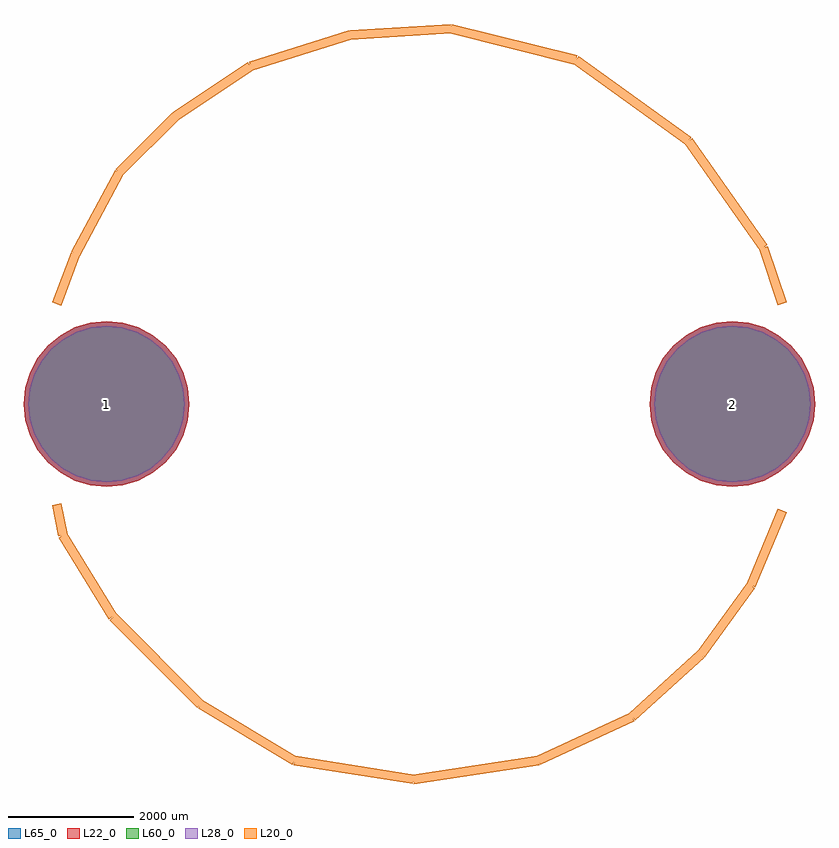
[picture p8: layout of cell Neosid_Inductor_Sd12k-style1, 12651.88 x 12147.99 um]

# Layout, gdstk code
import gdstk
lib = gdstk.Library(unit=1e-6, precision=1e-09)
def P(c, l, *ps):  # polygons
    for p in ps: c.add(gdstk.Polygon(p, *l))
L20_0 = (20, 0)
L22_0 = (22, 0)
L28_0 = (28, 0)
L60_0 = (60, 0)
L65_0 = (65, 0)

neosid_inductor_sd12k_st = lib.new_cell('Neosid_Inductor_Sd12k-style1')
P(neosid_inductor_sd12k_st, L22_0, [(-3676.58,0),(-3702.033,258.432),(-3777.415,506.933),(-3899.829,735.953),(-4064.57,936.69),(-4265.307,1101.431),(-4494.327,1223.845),(-4742.828,1299.227),(-5001.26,1324.68),(-5259.692,1299.227),(-5508.193,1223.845),(-5737.213,1101.431),(-5937.95,936.69),(-6102.691,735.953),(-6225.105,506.933),(-6300.487,258.432),(-6325.94,0),(-6300.487,-258.432),(-6225.105,-506.933),(-6102.691,-735.953),(-5937.95,-936.69),(-5737.213,-1101.431),(-5508.193,-1223.845),(-5259.692,-1299.227),(-5001.26,-1324.68),(-4742.828,-1299.227),(-4494.327,-1223.845),(-4265.307,-1101.431),(-4064.57,-936.69),(-3899.829,-735.953),(-3777.415,-506.933),(-3702.033,-258.432)],
  [(6325.94,0),(6300.487,258.432),(6225.105,506.933),(6102.691,735.953),(5937.95,936.69),(5737.213,1101.431),(5508.193,1223.845),(5259.692,1299.227),(5001.26,1324.68),(4742.828,1299.227),(4494.327,1223.845),(4265.307,1101.431),(4064.57,936.69),(3899.829,735.953),(3777.415,506.933),(3702.033,258.432),(3676.58,0),(3702.033,-258.432),(3777.415,-506.933),(3899.829,-735.953),(4064.57,-936.69),(4265.307,-1101.431),(4494.327,-1223.845),(4742.828,-1299.227),(5001.26,-1324.68),(5259.692,-1299.227),(5508.193,-1223.845),(5737.213,-1101.431),(5937.95,-936.69),(6102.691,-735.953),(6225.105,-506.933),(6300.487,-258.432)])
P(neosid_inductor_sd12k_st, L28_0, [(-3751.58,0),(-3775.592,243.8),(-3846.706,478.232),(-3962.189,694.285),(-4117.603,883.657),(-4306.975,1039.071),(-4523.028,1154.554),(-4757.46,1225.668),(-5001.26,1249.68),(-5245.06,1225.668),(-5479.492,1154.554),(-5695.545,1039.071),(-5884.917,883.657),(-6040.331,694.285),(-6155.814,478.232),(-6226.928,243.8),(-6250.94,0),(-6226.928,-243.8),(-6155.814,-478.232),(-6040.331,-694.285),(-5884.917,-883.657),(-5695.545,-1039.071),(-5479.492,-1154.554),(-5245.06,-1225.668),(-5001.26,-1249.68),(-4757.46,-1225.668),(-4523.028,-1154.554),(-4306.975,-1039.071),(-4117.603,-883.657),(-3962.189,-694.285),(-3846.706,-478.232),(-3775.592,-243.8)],
  [(6250.94,0),(6226.928,243.8),(6155.814,478.232),(6040.331,694.285),(5884.917,883.657),(5695.545,1039.071),(5479.492,1154.554),(5245.06,1225.668),(5001.26,1249.68),(4757.46,1225.668),(4523.028,1154.554),(4306.975,1039.071),(4117.603,883.657),(3962.189,694.285),(3846.706,478.232),(3775.592,243.8),(3751.58,0),(3775.592,-243.8),(3846.706,-478.232),(3962.189,-694.285),(4117.603,-883.657),(4306.975,-1039.071),(4523.028,-1154.554),(4757.46,-1225.668),(5001.26,-1249.68),(5245.06,-1225.668),(5479.492,-1154.554),(5695.545,-1039.071),(5884.917,-883.657),(6040.331,-694.285),(6155.814,-478.232),(6226.928,-243.8)])
P(neosid_inductor_sd12k_st, L60_0, [(-3751.58,0),(-3775.592,243.8),(-3846.706,478.232),(-3962.189,694.285),(-4117.603,883.657),(-4306.975,1039.071),(-4523.028,1154.554),(-4757.46,1225.668),(-5001.26,1249.68),(-5245.06,1225.668),(-5479.492,1154.554),(-5695.545,1039.071),(-5884.917,883.657),(-6040.331,694.285),(-6155.814,478.232),(-6226.928,243.8),(-6250.94,0),(-6226.928,-243.8),(-6155.814,-478.232),(-6040.331,-694.285),(-5884.917,-883.657),(-5695.545,-1039.071),(-5479.492,-1154.554),(-5245.06,-1225.668),(-5001.26,-1249.68),(-4757.46,-1225.668),(-4523.028,-1154.554),(-4306.975,-1039.071),(-4117.603,-883.657),(-3962.189,-694.285),(-3846.706,-478.232),(-3775.592,-243.8)],
  [(6250.94,0),(6226.928,243.8),(6155.814,478.232),(6040.331,694.285),(5884.917,883.657),(5695.545,1039.071),(5479.492,1154.554),(5245.06,1225.668),(5001.26,1249.68),(4757.46,1225.668),(4523.028,1154.554),(4306.975,1039.071),(4117.603,883.657),(3962.189,694.285),(3846.706,478.232),(3775.592,243.8),(3751.58,0),(3775.592,-243.8),(3846.706,-478.232),(3962.189,-694.285),(4117.603,-883.657),(4306.975,-1039.071),(4523.028,-1154.554),(4757.46,-1225.668),(5001.26,-1249.68),(5245.06,-1225.668),(5479.492,-1154.554),(5695.545,-1039.071),(5884.917,-883.657),(6040.331,-694.285),(6155.814,-478.232),(6226.928,-243.8)])
P(neosid_inductor_sd12k_st, L65_0, [(-3676.58,0),(-3702.033,258.432),(-3777.415,506.933),(-3899.829,735.953),(-4064.57,936.69),(-4265.307,1101.431),(-4494.327,1223.845),(-4742.828,1299.227),(-5001.26,1324.68),(-5259.692,1299.227),(-5508.193,1223.845),(-5737.213,1101.431),(-5937.95,936.69),(-6102.691,735.953),(-6225.105,506.933),(-6300.487,258.432),(-6325.94,0),(-6300.487,-258.432),(-6225.105,-506.933),(-6102.691,-735.953),(-5937.95,-936.69),(-5737.213,-1101.431),(-5508.193,-1223.845),(-5259.692,-1299.227),(-5001.26,-1324.68),(-4742.828,-1299.227),(-4494.327,-1223.845),(-4265.307,-1101.431),(-4064.57,-936.69),(-3899.829,-735.953),(-3777.415,-506.933),(-3702.033,-258.432)],
  [(6325.94,0),(6300.487,258.432),(6225.105,506.933),(6102.691,735.953),(5937.95,936.69),(5737.213,1101.431),(5508.193,1223.845),(5259.692,1299.227),(5001.26,1324.68),(4742.828,1299.227),(4494.327,1223.845),(4265.307,1101.431),(4064.57,936.69),(3899.829,735.953),(3777.415,506.933),(3702.033,258.432),(3676.58,0),(3702.033,-258.432),(3777.415,-506.933),(3899.829,-735.953),(4064.57,-936.69),(4265.307,-1101.431),(4494.327,-1223.845),(4742.828,-1299.227),(5001.26,-1324.68),(5259.692,-1299.227),(5508.193,-1223.845),(5737.213,-1101.431),(5937.95,-936.69),(6102.691,-735.953),(6225.105,-506.933),(6300.487,-258.432)])
neosid_inductor_sd12k_st.add(gdstk.FlexPath([(-4899.66,-3401.06),(-5699.76,-2100.58)], 149.998, ends="flush", simple_path=True, layer=20, datatype=0))  # L20_0
neosid_inductor_sd12k_st.add(gdstk.FlexPath([(-3500.12,-4800.6),(-4899.66,-3401.06)], 149.998, ends="flush", simple_path=True, layer=20, datatype=0))  # L20_0
neosid_inductor_sd12k_st.add(gdstk.FlexPath([(-1998.98,-5699.76),(-3500.12,-4800.6)], 149.998, ends="flush", simple_path=True, layer=20, datatype=0))  # L20_0
neosid_inductor_sd12k_st.add(gdstk.FlexPath([(-99.06,-5999.48),(-1998.98,-5699.76)], 149.998, ends="flush", simple_path=True, layer=20, datatype=0))  # L20_0
neosid_inductor_sd12k_st.add(gdstk.FlexPath([(1899.92,-5699.76),(-99.06,-5999.48)], 149.998, ends="flush", simple_path=True, layer=20, datatype=0))  # L20_0
neosid_inductor_sd12k_st.add(gdstk.FlexPath([(3401.06,-5001.26),(1899.92,-5699.76)], 149.998, ends="flush", simple_path=True, layer=20, datatype=0))  # L20_0
neosid_inductor_sd12k_st.add(gdstk.FlexPath([(4500.88,-4000.5),(3401.06,-5001.26)], 149.998, ends="flush", simple_path=True, layer=20, datatype=0))  # L20_0
neosid_inductor_sd12k_st.add(gdstk.FlexPath([(5300.98,-2900.68),(4500.88,-4000.5)], 149.998, ends="flush", simple_path=True, layer=20, datatype=0))  # L20_0
neosid_inductor_sd12k_st.add(gdstk.FlexPath([(5798.82,-1699.26),(5300.98,-2900.68)], 149.998, ends="flush", simple_path=True, layer=20, datatype=0))  # L20_0
neosid_inductor_sd12k_st.add(gdstk.FlexPath([(5499.1,2499.36),(5798.82,1600.2)], 149.998, ends="flush", simple_path=True, layer=20, datatype=0))  # L20_0
neosid_inductor_sd12k_st.add(gdstk.FlexPath([(4300.22,4201.16),(5499.1,2499.36)], 149.998, ends="flush", simple_path=True, layer=20, datatype=0))  # L20_0
neosid_inductor_sd12k_st.add(gdstk.FlexPath([(2499.36,5499.1),(4300.22,4201.16)], 149.998, ends="flush", simple_path=True, layer=20, datatype=0))  # L20_0
neosid_inductor_sd12k_st.add(gdstk.FlexPath([(500.38,5999.48),(2499.36,5499.1)], 149.998, ends="flush", simple_path=True, layer=20, datatype=0))  # L20_0
neosid_inductor_sd12k_st.add(gdstk.FlexPath([(-1099.82,5900.42),(500.38,5999.48)], 149.998, ends="flush", simple_path=True, layer=20, datatype=0))  # L20_0
neosid_inductor_sd12k_st.add(gdstk.FlexPath([(-2700.02,5400.04),(-1099.82,5900.42)], 149.998, ends="flush", simple_path=True, layer=20, datatype=0))  # L20_0
neosid_inductor_sd12k_st.add(gdstk.FlexPath([(-3898.9,4599.94),(-2700.02,5400.04)], 149.998, ends="flush", simple_path=True, layer=20, datatype=0))  # L20_0
neosid_inductor_sd12k_st.add(gdstk.FlexPath([(-4800.6,3700.78),(-3898.9,4599.94)], 149.998, ends="flush", simple_path=True, layer=20, datatype=0))  # L20_0
neosid_inductor_sd12k_st.add(gdstk.FlexPath([(-5499.1,2400.3),(-4800.6,3700.78)], 149.998, ends="flush", simple_path=True, layer=20, datatype=0))  # L20_0
neosid_inductor_sd12k_st.add(gdstk.FlexPath([(-5798.82,1600.2),(-5499.1,2400.3)], 149.998, ends="flush", simple_path=True, layer=20, datatype=0))  # L20_0
neosid_inductor_sd12k_st.add(gdstk.FlexPath([(-5699.76,-2100.58),(-5798.82,-1600.2)], 149.998, ends="flush", simple_path=True, layer=20, datatype=0))  # L20_0
neosid_inductor_sd12k_st.add(gdstk.Label('1', (-5001.26,0), layer=28, texttype=0))
neosid_inductor_sd12k_st.add(gdstk.Label('2', (5001.26,0), layer=28, texttype=0))
neosid_inductor_sd12k_st.add(gdstk.Label('type', (500.38,-8498.84), layer=9, texttype=0))
neosid_inductor_sd12k_st.add(gdstk.Label('devicename', (0,7000.24), layer=9, texttype=0))

lib.write_gds('Neosid_Inductor_Sd12k-style1.gds')
